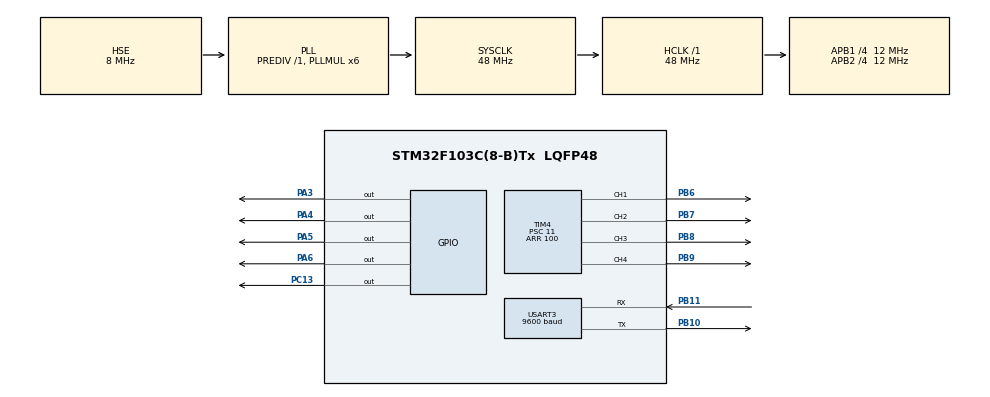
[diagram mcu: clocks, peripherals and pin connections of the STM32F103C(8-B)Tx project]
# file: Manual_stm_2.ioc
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Mcu.Family=STM32F1
Mcu.Name=STM32F103C(8-B)Tx
Mcu.Package=LQFP48
NVIC.PriorityGroup=NVIC_PRIORITYGROUP_4
NVIC.USART3_IRQn=true\:0\:0\:false\:false\:true\:true\:true\:true
PA13.Mode=Serial_Wire
PA13.Signal=SYS_JTMS-SWDIO
PA14.Mode=Serial_Wire
PA14.Signal=SYS_JTCK-SWCLK
PA3.Signal=GPIO_Output
PA4.Signal=GPIO_Output
PA5.Signal=GPIO_Output
PA6.Signal=GPIO_Output
PB10.Mode=Asynchronous
PB10.Signal=USART3_TX
PB11.Mode=Asynchronous
PB11.Signal=USART3_RX
PB6.Signal=S_TIM4_CH1
PB7.Signal=S_TIM4_CH2
PB8.Signal=S_TIM4_CH3
PB9.Signal=S_TIM4_CH4
PC13-TAMPER-RTC.Signal=GPIO_Output
PD0-OSC_IN.Mode=HSE-External-Oscillator
PD0-OSC_IN.Signal=RCC_OSC_IN
PD1-OSC_OUT.Mode=HSE-External-Oscillator
PD1-OSC_OUT.Signal=RCC_OSC_OUT
ProjectManager.HeapSize=0x200
ProjectManager.StackSize=0x400
ProjectManager.TargetToolchain=MDK-ARM V5.32
RCC.AHBFreq_Value=48000000
RCC.APB1CLKDivider=RCC_HCLK_DIV4
RCC.APB1Freq_Value=12000000
RCC.APB1TimFreq_Value=24000000
RCC.APB2CLKDivider=RCC_HCLK_DIV4
RCC.APB2Freq_Value=12000000
RCC.APB2TimFreq_Value=24000000
RCC.HCLKFreq_Value=48000000
RCC.PLLMUL=RCC_PLL_MUL6
RCC.PLLSourceVirtual=RCC_PLLSOURCE_HSE
RCC.SYSCLKFreq_VALUE=48000000
RCC.SYSCLKSource=RCC_SYSCLKSOURCE_PLLCLK
RCC.USBFreq_Value=48000000
SH.S_TIM4_CH1.0=TIM4_CH1,PWM Generation1 CH1
SH.S_TIM4_CH2.0=TIM4_CH2,PWM Generation2 CH2
SH.S_TIM4_CH3.0=TIM4_CH3,PWM Generation3 CH3
SH.S_TIM4_CH4.0=TIM4_CH4,PWM Generation4 CH4
TIM4.Channel-PWM\ Generation1\ CH1=TIM_CHANNEL_1
TIM4.Channel-PWM\ Generation2\ CH2=TIM_CHANNEL_2
TIM4.Channel-PWM\ Generation3\ CH3=TIM_CHANNEL_3
TIM4.Channel-PWM\ Generation4\ CH4=TIM_CHANNEL_4
TIM4.Period=100
TIM4.Prescaler=11
USART3.BaudRate=9600
USART3.VirtualMode=VM_ASYNC
board=custom

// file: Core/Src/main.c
/* USER CODE BEGIN Header */
/**
  ******************************************************************************
  * @file           : main.c
  * @brief          : Main program body
  ******************************************************************************
  * @attention
  *
  * Copyright (c) 2023 STMicroelectronics.
  * All rights reserved.
  *
  * This software is licensed under terms that can be found in the LICENSE file
  * in the root directory of this software component.
  * If no LICENSE file comes with this software, it is provided AS-IS.
  *
  ******************************************************************************
  */

	/* 	Author: Chi */
	/* 	Right motor:
				R_EN			- PA6
				L_EN			- PA5
				R_PWM			-	PB9
				L_PWM			- PB8
			Left motor:
				R_EN			- PA3
				L_EN			- PA4
				R_PWM			-	PB6
				L_PWM			- PB7
	*/
/* USER CODE END Header */
#include "main.h"

TIM_HandleTypeDef htim4;

UART_HandleTypeDef huart3;

/* USER CODE BEGIN PV */
char Rx_indx, Rx_Buffer[20],Rx_data[2];
int ShootVel;
uint8_t RunSystem;
/* USER CODE END PV */

void SystemClock_Config(void);
static void MX_GPIO_Init(void);
static void MX_TIM4_Init(void);
static void MX_USART3_UART_Init(void);

/* USER CODE BEGIN 0 */
void HAL_UART_RxCpltCallback(UART_HandleTypeDef *huart)
	{
		uint8_t i;
		if(huart->Instance == USART3) //uart3
		{
		switch(Rx_data[0]) {
						case '7':
								RunSystem = 1;
                break;
						case '8':
								RunSystem = 0;
                break;
            case '5':
								ShootVel = 20;
                break;
						case '6':
								ShootVel = 0;
                break;

            default:
                break;
        }
				HAL_UART_Receive_IT(&huart3,(uint8_t*)Rx_data,1);
		}
	}

// Control
void MotorLeftRot(int32_t pwmSet)
{
	HAL_GPIO_WritePin(GPIOA, GPIO_PIN_3, 1);
	HAL_GPIO_WritePin(GPIOA, GPIO_PIN_4, 1);
	if (pwmSet > 0) {
		__HAL_TIM_SetCompare(&htim4, TIM_CHANNEL_1, pwmSet);
		__HAL_TIM_SetCompare(&htim4, TIM_CHANNEL_2, 0);
	}
	else if (pwmSet < 0) {
		__HAL_TIM_SetCompare(&htim4, TIM_CHANNEL_1,0);
		__HAL_TIM_SetCompare(&htim4, TIM_CHANNEL_2, -pwmSet);
	}
	else{
		HAL_GPIO_WritePin(GPIOA, GPIO_PIN_3, 0);
		HAL_GPIO_WritePin(GPIOA, GPIO_PIN_4, 0);
	}
}
void MotorRightRot(int32_t pwmSet)
{
	HAL_GPIO_WritePin(GPIOA, GPIO_PIN_5, 1);
	HAL_GPIO_WritePin(GPIOA, GPIO_PIN_6, 1);
	if (pwmSet > 0) {
		__HAL_TIM_SetCompare(&htim4, TIM_CHANNEL_3, pwmSet);
		__HAL_TIM_SetCompare(&htim4, TIM_CHANNEL_4, 0);
	}
	else if (pwmSet < 0) {
		__HAL_TIM_SetCompare(&htim4, TIM_CHANNEL_3,0);
		__HAL_TIM_SetCompare(&htim4, TIM_CHANNEL_4, -pwmSet);
	}
	else{
		HAL_GPIO_WritePin(GPIOA, GPIO_PIN_5, 0);
		HAL_GPIO_WritePin(GPIOA, GPIO_PIN_6, 0);
	}
}
/* USER CODE END 0 */

int main(void)
{

  /* MCU Configuration--------------------------------------------------------*/

  /* Reset of all peripherals, Initializes the Flash interface and the Systick. */
  HAL_Init();

  /* Configure the system clock */
  SystemClock_Config();

  /* Initialize all configured peripherals */
  MX_GPIO_Init();
  MX_TIM4_Init();
  MX_USART3_UART_Init();
  /* USER CODE BEGIN 2 */
	HAL_TIM_PWM_Start(&htim4, TIM_CHANNEL_1);	// start  timer 1
	HAL_TIM_PWM_Start(&htim4, TIM_CHANNEL_2);	// start 	timer 1
	HAL_TIM_PWM_Start(&htim4, TIM_CHANNEL_3);	// start  timer 1
	HAL_TIM_PWM_Start(&htim4, TIM_CHANNEL_4);	// start 	timer 1
	HAL_UART_Receive_IT(&huart3,(uint8_t*)Rx_data,1);
  /* USER CODE END 2 */

  /* Infinite loop */
  while (1)
  {
		if (RunSystem == 1) {
			MotorLeftRot(ShootVel);
			MotorRightRot(ShootVel);
		}
		else{
			MotorLeftRot(0);
			MotorRightRot(0);
		}
  }
}

void SystemClock_Config(void)
{
  RCC_OscInitTypeDef RCC_OscInitStruct = {0};
  RCC_ClkInitTypeDef RCC_ClkInitStruct = {0};

  /** Initializes the RCC Oscillators according to the specified parameters
  * in the RCC_OscInitTypeDef structure.
  */
  RCC_OscInitStruct.OscillatorType = RCC_OSCILLATORTYPE_HSE;
  RCC_OscInitStruct.HSEState = RCC_HSE_ON;
  RCC_OscInitStruct.HSEPredivValue = RCC_HSE_PREDIV_DIV1;
  RCC_OscInitStruct.HSIState = RCC_HSI_ON;
  RCC_OscInitStruct.PLL.PLLState = RCC_PLL_ON;
  RCC_OscInitStruct.PLL.PLLSource = RCC_PLLSOURCE_HSE;
  RCC_OscInitStruct.PLL.PLLMUL = RCC_PLL_MUL6;
  if (HAL_RCC_OscConfig(&RCC_OscInitStruct) != HAL_OK)
  {
    Error_Handler();
  }

  /** Initializes the CPU, AHB and APB buses clocks
  */
  RCC_ClkInitStruct.ClockType = RCC_CLOCKTYPE_HCLK|RCC_CLOCKTYPE_SYSCLK
                              |RCC_CLOCKTYPE_PCLK1|RCC_CLOCKTYPE_PCLK2;
  RCC_ClkInitStruct.SYSCLKSource = RCC_SYSCLKSOURCE_PLLCLK;
  RCC_ClkInitStruct.AHBCLKDivider = RCC_SYSCLK_DIV1;
  RCC_ClkInitStruct.APB1CLKDivider = RCC_HCLK_DIV4;
  RCC_ClkInitStruct.APB2CLKDivider = RCC_HCLK_DIV4;

  if (HAL_RCC_ClockConfig(&RCC_ClkInitStruct, FLASH_LATENCY_1) != HAL_OK)
  {
    Error_Handler();
  }
}

static void MX_TIM4_Init(void)
{

  TIM_MasterConfigTypeDef sMasterConfig = {0};
  TIM_OC_InitTypeDef sConfigOC = {0};

  htim4.Instance = TIM4;
  htim4.Init.Prescaler = 11;
  htim4.Init.CounterMode = TIM_COUNTERMODE_UP;
  htim4.Init.Period = 100;
  htim4.Init.ClockDivision = TIM_CLOCKDIVISION_DIV1;
  htim4.Init.AutoReloadPreload = TIM_AUTORELOAD_PRELOAD_DISABLE;
  if (HAL_TIM_PWM_Init(&htim4) != HAL_OK)
  {
    Error_Handler();
  }
  sMasterConfig.MasterOutputTrigger = TIM_TRGO_RESET;
  sMasterConfig.MasterSlaveMode = TIM_MASTERSLAVEMODE_DISABLE;
  if (HAL_TIMEx_MasterConfigSynchronization(&htim4, &sMasterConfig) != HAL_OK)
  {
    Error_Handler();
  }
  sConfigOC.OCMode = TIM_OCMODE_PWM1;
  sConfigOC.Pulse = 0;
  sConfigOC.OCPolarity = TIM_OCPOLARITY_HIGH;
  sConfigOC.OCFastMode = TIM_OCFAST_DISABLE;
  if (HAL_TIM_PWM_ConfigChannel(&htim4, &sConfigOC, TIM_CHANNEL_1) != HAL_OK)
  {
    Error_Handler();
  }
  if (HAL_TIM_PWM_ConfigChannel(&htim4, &sConfigOC, TIM_CHANNEL_2) != HAL_OK)
  {
    Error_Handler();
  }
  if (HAL_TIM_PWM_ConfigChannel(&htim4, &sConfigOC, TIM_CHANNEL_3) != HAL_OK)
  {
    Error_Handler();
  }
  if (HAL_TIM_PWM_ConfigChannel(&htim4, &sConfigOC, TIM_CHANNEL_4) != HAL_OK)
  {
    Error_Handler();
  }
  HAL_TIM_MspPostInit(&htim4);

}

static void MX_USART3_UART_Init(void)
{

  huart3.Instance = USART3;
  huart3.Init.BaudRate = 9600;
  huart3.Init.WordLength = UART_WORDLENGTH_8B;
  huart3.Init.StopBits = UART_STOPBITS_1;
  huart3.Init.Parity = UART_PARITY_NONE;
  huart3.Init.Mode = UART_MODE_TX_RX;
  huart3.Init.HwFlowCtl = UART_HWCONTROL_NONE;
  huart3.Init.OverSampling = UART_OVERSAMPLING_16;
  if (HAL_UART_Init(&huart3) != HAL_OK)
  {
    Error_Handler();
  }

}

static void MX_GPIO_Init(void)
{
  GPIO_InitTypeDef GPIO_InitStruct = {0};

  /* GPIO Ports Clock Enable */
  __HAL_RCC_GPIOC_CLK_ENABLE();
  __HAL_RCC_GPIOD_CLK_ENABLE();
  __HAL_RCC_GPIOA_CLK_ENABLE();
  __HAL_RCC_GPIOB_CLK_ENABLE();

  /*Configure GPIO pin Output Level */
  HAL_GPIO_WritePin(GPIOC, GPIO_PIN_13, GPIO_PIN_RESET);

  /*Configure GPIO pin Output Level */
  HAL_GPIO_WritePin(GPIOA, GPIO_PIN_3|GPIO_PIN_4|GPIO_PIN_5|GPIO_PIN_6, GPIO_PIN_RESET);

  /*Configure GPIO pin : PC13 */
  GPIO_InitStruct.Pin = GPIO_PIN_13;
  GPIO_InitStruct.Mode = GPIO_MODE_OUTPUT_PP;
  GPIO_InitStruct.Pull = GPIO_NOPULL;
  GPIO_InitStruct.Speed = GPIO_SPEED_FREQ_LOW;
  HAL_GPIO_Init(GPIOC, &GPIO_InitStruct);

  /*Configure GPIO pins : PA3 PA4 PA5 PA6 */
  GPIO_InitStruct.Pin = GPIO_PIN_3|GPIO_PIN_4|GPIO_PIN_5|GPIO_PIN_6;
  GPIO_InitStruct.Mode = GPIO_MODE_OUTPUT_PP;
  GPIO_InitStruct.Pull = GPIO_NOPULL;
  GPIO_InitStruct.Speed = GPIO_SPEED_FREQ_LOW;
  HAL_GPIO_Init(GPIOA, &GPIO_InitStruct);

}

void Error_Handler(void)
{
  __disable_irq();
  while (1)
  {
  }
}
